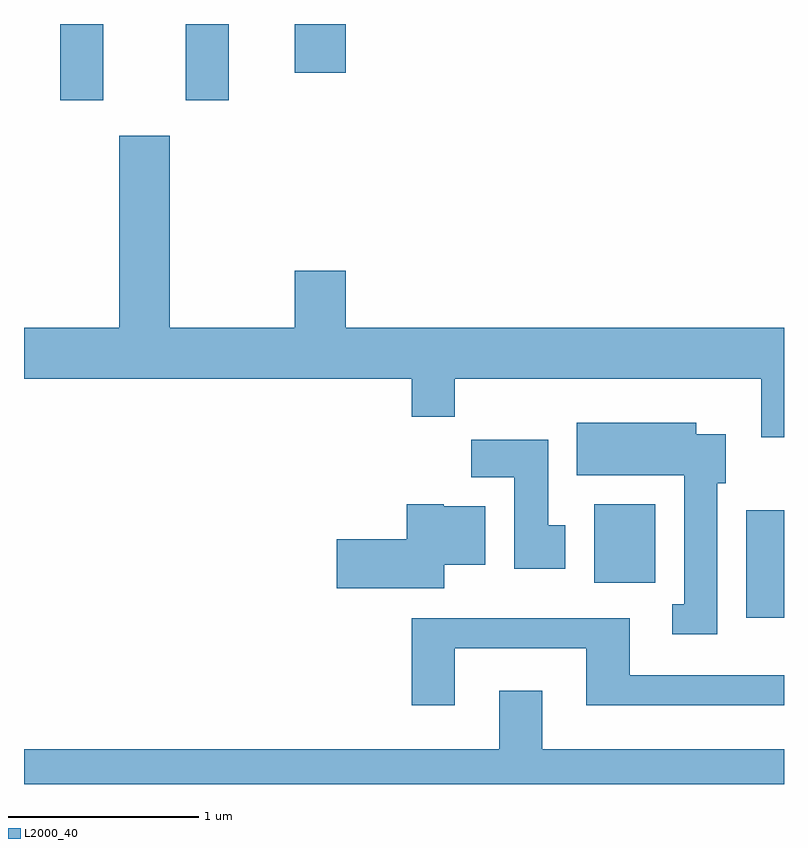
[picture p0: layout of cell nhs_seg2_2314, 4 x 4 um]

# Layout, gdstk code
import gdstk
lib = gdstk.Library(unit=1e-6, precision=1e-09)
def R(c, l, rs):  # rectangles x0, y0, x1, y1
    for r in rs: c.add(gdstk.rectangle(r[:2], r[2:], *l))
def P(c, l, *ps):  # polygons
    for p in ps: c.add(gdstk.Polygon(p, *l))
L2000_40 = (2000, 40)

nhs_seg2_2314 = lib.new_cell('nhs_seg2_2314')
R(nhs_seg2_2314, L2000_40, [(257.411,982.676,257.611,983.244), (256.611,982.861,256.934,983.274), (253.801,985.401,254.029,985.802), (254.461,985.401,254.689,985.802), (255.036,985.546,255.304,985.802)])
P(nhs_seg2_2314, L2000_40, [(257.611,984.204),(255.304,984.204),(255.304,984.504),(255.036,984.504),(255.036,984.204),(254.379,984.204),(254.379,985.214),(254.111,985.214),(254.111,984.204),(253.611,984.204),(253.611,983.936),(255.651,983.936),(255.651,983.736),(255.879,983.736),(255.879,983.936),(257.491,983.936),(257.491,983.626),(257.611,983.626)],
  [(257.259,983.386),(257.304,983.386),(257.304,983.644),(257.149,983.644),(257.149,983.704),(256.521,983.704),(256.521,983.426),(257.086,983.426),(257.086,982.749),(257.022,982.749),(257.022,982.591),(257.259,982.591)],
  [(256.459,983.164),(256.369,983.164),(256.369,983.614),(255.966,983.614),(255.966,983.416),(256.191,983.416),(256.191,982.936),(256.459,982.936)],
  [(255.824,982.956),(256.039,982.956),(256.039,983.264),(255.82,983.264),(255.82,983.274),(255.626,983.274),(255.626,983.089),(255.256,983.089),(255.256,982.831),(255.824,982.831)],
  [(255.879,982.516),(256.571,982.516),(256.571,982.216),(257.611,982.216),(257.611,982.374),(256.799,982.374),(256.799,982.674),(255.651,982.674),(255.651,982.216),(255.879,982.216)],
  [(257.611,981.984),(256.339,981.984),(256.339,982.294),(256.111,982.294),(256.111,981.984),(253.611,981.984),(253.611,981.802),(257.611,981.802)])

lib.write_gds('nhs_seg2_2314.gds')
